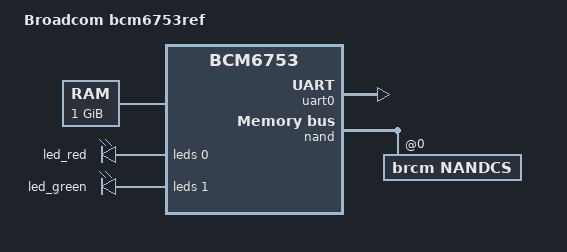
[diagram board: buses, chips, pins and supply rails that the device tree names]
// SPDX-License-Identifier: GPL-2.0+
/*
 * Copyright (C) 2022 Philippe Reynes <philippe.reynes@softathome.com>
 */

/dts-v1/;

#include "bcm6753.dtsi"

#include <dt-bindings/gpio/gpio.h>

/ {
	model = "Broadcom bcm6753ref";
	compatible = "broadcom,bcm6753ref", "brcm,bcm6753";

	aliases {
		serial0 = &uart0;
	};

	chosen {
		stdout-path = "serial0:115200n8";
	};

	memory {
		device_type = "memory";
		reg = <0x0 0x40000000>;
	};
};

&uart0 {
	u-boot,dm-pre-reloc;
	status = "okay";
};

&gpio0 {
	status = "okay";
};

&gpio1 {
	status = "okay";
};

&gpio2 {
	status = "okay";
};

&gpio3 {
	status = "okay";
};

&gpio4 {
	status = "okay";
};

&gpio5 {
	status = "okay";
};

&gpio6 {
	status = "okay";
};

&gpio7 {
	status = "okay";
};

&nand {
	status = "okay";
	write-protect = <0>;
	#address-cells = <1>;
	#size-cells = <0>;

	nandcs@0 {
		compatible = "brcm,nandcs";
		reg = <0>;
		nand-ecc-strength = <4>;
		nand-ecc-step-size = <512>;
		brcm,nand-oob-sector-size = <16>;
	};
};

&leds {
	status = "okay";
	#address-cells = <1>;
	#size-cells = <0>;
	brcm,serial-led-en-pol;
	brcm,serial-led-data-ppol;

	led@0 {
		reg = <0>;
		label = "led_red";
	};

	led@1 {
		reg = <1>;
		label = "led_green";
	};
};
